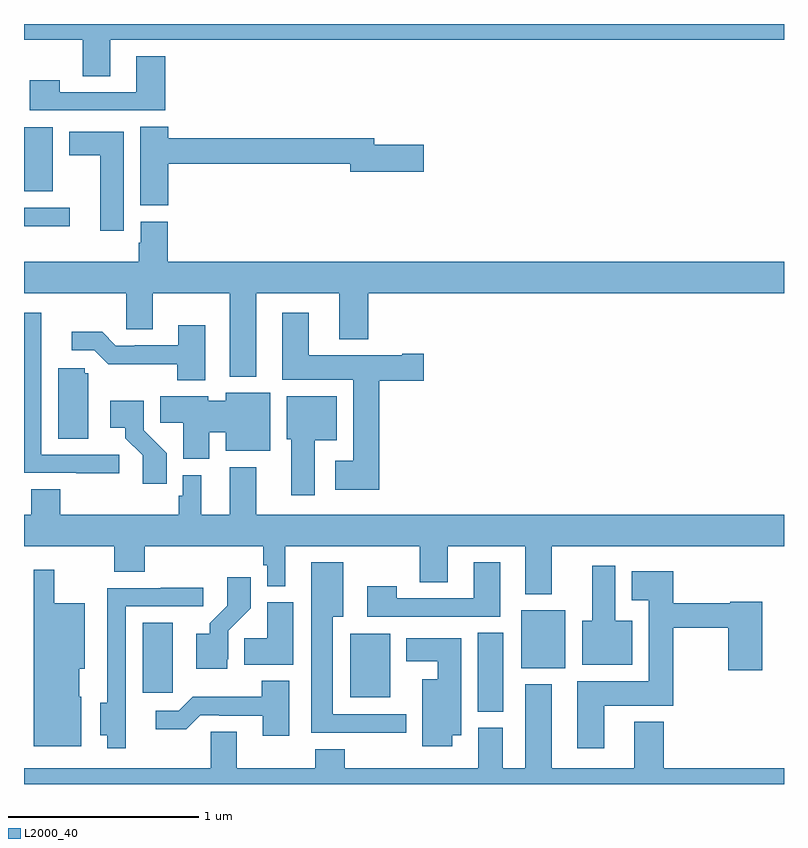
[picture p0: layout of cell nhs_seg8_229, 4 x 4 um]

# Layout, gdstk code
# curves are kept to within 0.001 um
import gdstk
lib = gdstk.Library(unit=1e-6, precision=1e-09)
def R(c, l, rs):  # rectangles x0, y0, x1, y1
    for r in rs: c.add(gdstk.rectangle(r[:2], r[2:], *l))
def P(c, l, *ps):  # polygons
    for p in ps: c.add(gdstk.Polygon(p, *l))
L2000_40 = (2000, 40)

nhs_seg8_229 = lib.new_cell('nhs_seg8_229')
R(nhs_seg8_229, L2000_40, [(127.388,1130.281,127.522,1130.696), (126.716,1130.357,126.928,1130.692), (125.624,1130.379,125.782,1130.75), (127.616,1130.51,127.849,1130.815), (125,1132.835,125.242,1132.932), (125,1133.021,125.152,1133.356)])
P(nhs_seg8_229, L2000_40, [(125.455,1133.816),(129,1133.816),(129,1133.9),(125,1133.9),(125,1133.816),(125.308,1133.816),(125.308,1133.626),(125.455,1133.626)],
  [(125.744,1133.731),(125.591,1133.731),(125.591,1133.541),(125.187,1133.541),(125.187,1133.605),(125.031,1133.605),(125.031,1133.445),(125.744,1133.445)],
  [(125.759,1133.164),(126.716,1133.164),(126.716,1133.122),(127.105,1133.122),(127.105,1133.264),(126.844,1133.264),(126.844,1133.3),(125.759,1133.3),(125.759,1133.36),(125.612,1133.36),(125.612,1132.945),(125.759,1132.945)],
  [(125.524,1133.332),(125.237,1133.332),(125.237,1133.21),(125.402,1133.21),(125.402,1132.812),(125.524,1132.812)],
  [(126.223,1132.484),(126.659,1132.484),(126.659,1132.241),(126.812,1132.241),(126.812,1132.484),(129,1132.484),(129,1132.648),(125.756,1132.648),(125.756,1132.86),(125.615,1132.86),(125.615,1132.749),(125.603,1132.749),(125.603,1132.648),(125,1132.648),(125,1132.484),(125.538,1132.484),(125.538,1132.294),(125.677,1132.294),(125.677,1132.484),(126.083,1132.484),(126.083,1132.043),(126.223,1132.043)],
  [(126.869,1132.022),(127.105,1132.022),(127.105,1132.164),(126.992,1132.164),(126.992,1132.156),(126.499,1132.156),(126.499,1132.381),(126.359,1132.381),(126.359,1132.028),(126.734,1132.028),(126.734,1131.601),(126.639,1131.601),(126.639,1131.449),(126.869,1131.449)],
  [(125.5,1131.633),(125.091,1131.633),(125.091,1132.132),(125.092,1132.132),(125.092,1132.381),(125,1132.381),(125,1131.537),(125.275,1131.537),(125.275,1131.535),(125.5,1131.535)],
  [(125.953,1132.315),(125.813,1132.315),(125.813,1132.209),(125.584,1132.209),(125.584,1132.206),(125.484,1132.206),(125.411,1132.279),(125.25,1132.279),(125.25,1132.182),(125.37,1132.182),(125.443,1132.109),(125.806,1132.11),(125.806,1132.025),(125.953,1132.025)],
  [(125.338,1132.062),(125.319,1132.062),(125.319,1132.089),(125.18,1132.089),(125.18,1131.718),(125.338,1131.718)],
  [(125.974,1131.751),(126.062,1131.751),(126.062,1131.653),(126.295,1131.653),(126.295,1131.958),(126.062,1131.958),(126.062,1131.916),(125.97,1131.916),(125.97,1131.94),(125.716,1131.94),(125.716,1131.802),(125.837,1131.802),(125.837,1131.611),(125.974,1131.611)],
  [(126.529,1131.71),(126.646,1131.71),(126.646,1131.94),(126.383,1131.94),(126.383,1131.714),(126.407,1131.714),(126.407,1131.42),(126.529,1131.42)],
  [(125.75,1131.642),(125.631,1131.761),(125.631,1131.916),(125.454,1131.916),(125.454,1131.776),(125.534,1131.776),(125.534,1131.721),(125.625,1131.631),(125.625,1131.48),(125.75,1131.48)],
  [(127.777,1131.152),(129,1131.152),(129,1131.316),(126.223,1131.316),(126.223,1131.568),(126.083,1131.568),(126.083,1131.316),(125.932,1131.316),(125.932,1131.526),(125.835,1131.526),(125.835,1131.417),(125.815,1131.417),(125.815,1131.316),(125.192,1131.316),(125.192,1131.452),(125.039,1131.452),(125.039,1131.316),(125,1131.316),(125,1131.152),(125.476,1131.152),(125.476,1131.016),(125.636,1131.016),(125.636,1131.152),(126.259,1131.152),(126.259,1131.051),(126.279,1131.051),(126.279,1130.942),(126.376,1130.942),(126.376,1131.152),(127.084,1131.152),(127.084,1130.962),(127.231,1130.962),(127.231,1131.152),(127.637,1131.152),(127.637,1130.9),(127.777,1130.9)],
  [(127.012,1130.268),(126.625,1130.268),(126.625,1130.78),(126.679,1130.78),(126.679,1131.067),(126.512,1131.067),(126.512,1130.171),(127.012,1130.171)],
  [(127.507,1131.067),(127.367,1131.067),(127.367,1130.877),(126.963,1130.877),(126.963,1130.941),(126.807,1130.941),(126.807,1130.781),(127.507,1130.781)],
  [(128.2,1130.758),(128.113,1130.758),(128.113,1131.049),(127.991,1131.049),(127.991,1130.758),(127.937,1130.758),(127.937,1130.528),(128.2,1130.528)],
  [(125.302,1130.358),(125.29,1130.358),(125.29,1130.507),(125.32,1130.507),(125.32,1130.851),(125.158,1130.851),(125.158,1131.028),(125.051,1131.028),(125.051,1130.099),(125.302,1130.099)],
  [(128.053,1130.312),(128.418,1130.312),(128.418,1130.722),(128.707,1130.722),(128.707,1130.499),(128.885,1130.499),(128.885,1130.859),(128.718,1130.859),(128.718,1130.851),(128.418,1130.851),(128.418,1131.019),(128.198,1131.019),(128.198,1130.867),(128.288,1130.867),(128.288,1130.44),(127.913,1130.44),(127.913,1130.088),(128.053,1130.088)],
  [(126.07,1130.556),(126.075,1130.556),(126.075,1130.707),(126.194,1130.826),(126.194,1130.989),(126.069,1130.989),(126.069,1130.837),(125.978,1130.747),(125.978,1130.692),(125.906,1130.692),(125.906,1130.507),(126.07,1130.507)],
  [(125.536,1130.31),(125.535,1130.31),(125.535,1130.835),(125.944,1130.835),(125.944,1130.934),(125.719,1130.934),(125.719,1130.931),(125.439,1130.931),(125.439,1130.327),(125.402,1130.327),(125.402,1130.156),(125.438,1130.156),(125.438,1130.088),(125.536,1130.088)],
  [(126.418,1130.857),(126.281,1130.857),(126.281,1130.666),(126.16,1130.666),(126.16,1130.528),(126.418,1130.528)],
  [(127.255,1130.156),(127.3,1130.156),(127.3,1130.668),(127.013,1130.668),(127.013,1130.546),(127.178,1130.546),(127.178,1130.452),(127.097,1130.452),(127.097,1130.1),(127.255,1130.1)],
  [(126.397,1130.443),(126.25,1130.443),(126.25,1130.359),(125.887,1130.359),(125.814,1130.286),(125.694,1130.286),(125.694,1130.189),(125.855,1130.189),(125.928,1130.262),(126.028,1130.262),(126.028,1130.259),(126.257,1130.259),(126.257,1130.154),(126.397,1130.154)],
  [(129,1129.984),(128.366,1129.984),(128.366,1130.227),(128.213,1130.227),(128.213,1129.984),(127.777,1129.984),(127.777,1130.425),(127.637,1130.425),(127.637,1129.984),(127.519,1129.984),(127.519,1130.196),(127.391,1130.196),(127.391,1129.984),(126.687,1129.984),(126.687,1130.083),(126.532,1130.083),(126.532,1129.984),(126.121,1129.984),(126.121,1130.174),(125.982,1130.174),(125.982,1129.984),(125,1129.984),(125,1129.9),(129,1129.9)])

lib.write_gds('nhs_seg8_229.gds')
